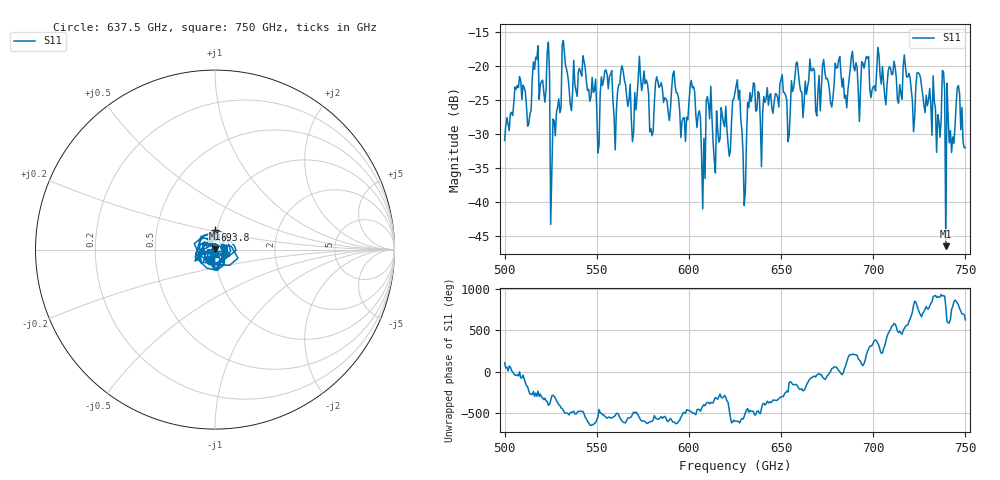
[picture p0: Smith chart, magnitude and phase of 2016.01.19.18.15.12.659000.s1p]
!Created with skrf (http://scikit-rf.org).
# GHz S RI R 50.0
!freq ReS11 ImS11
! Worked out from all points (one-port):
!   401 points, 500 GHz to 750 GHz, reference 50 ohm
!   lowest |S11| = -46.5 dB at 739.4 GHz (marker M1), VSWR 1.01, Z = 50.2 + j0.44 ohm
!   |S11| at or under -10 dB: start of sweep to end of sweep
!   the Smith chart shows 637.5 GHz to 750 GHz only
!   S11 on the Smith chart (normalised r, x): 637.5 GHz: 0.94, -0.11; 693.8 GHz: 0.98, +0.21; 750 GHz: 1.00, -0.05
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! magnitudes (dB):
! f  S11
! 500 GHz  -31.0
! 507.5 GHz  -23.2
! 513.1 GHz  -28.5
! 516.9 GHz  -18.8
! 523.1 GHz  -18.0
! 526.2 GHz  -27.8
! 531.2 GHz  -16.9
! 550.6 GHz  -32.8
! 562.5 GHz  -22.7
! 576.2 GHz  -22.6
! 580 GHz  -30.3
! 583.1 GHz  -22.3
! 593.8 GHz  -24.0
! 601.9 GHz  -23.3
! 607.5 GHz  -41.0
! 610.6 GHz  -25.6
! 621.9 GHz  -33.3
! 625 GHz  -23.9
! 630 GHz  -40.5
! 633.1 GHz  -24.0
! 637.5 GHz  -23.8
! 656.2 GHz  -23.8
! 687.5 GHz  -20.5
! 693.8 GHz  -19.4
! 718.8 GHz  -21.6
! 739.4 GHz  -46.5
! 746.9 GHz  -24.2
! 750 GHz  -32.0
